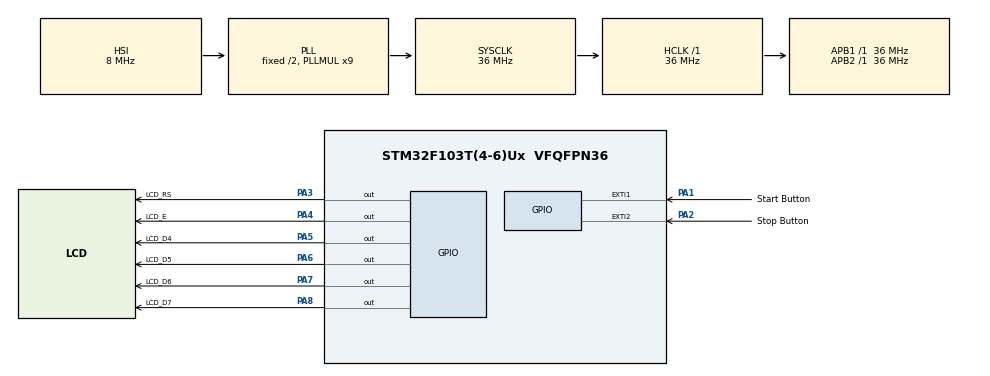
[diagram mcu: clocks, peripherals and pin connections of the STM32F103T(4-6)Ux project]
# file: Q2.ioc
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Mcu.Family=STM32F1
Mcu.Name=STM32F103T(4-6)Ux
Mcu.Package=VFQFPN36
NVIC.EXTI1_IRQn=true\:0\:0\:false\:false\:true\:true\:true\:true
NVIC.EXTI2_IRQn=true\:0\:0\:false\:false\:true\:true\:true\:true
NVIC.PriorityGroup=NVIC_PRIORITYGROUP_4
NVIC.TIM1_UP_IRQn=true\:0\:0\:false\:false\:true\:true\:true\:true
NVIC.TIM2_IRQn=true\:0\:0\:false\:false\:true\:true\:true\:true
PA1.GPIO_Label=Start Button
PA1.GPIO_ModeDefaultEXTI=GPIO_MODE_IT_RISING
PA1.GPIO_PuPd=GPIO_PULLDOWN
PA1.Signal=GPXTI1
PA2.GPIO_Label=Stop Button
PA2.GPIO_ModeDefaultEXTI=GPIO_MODE_IT_RISING
PA2.GPIO_PuPd=GPIO_PULLDOWN
PA2.Signal=GPXTI2
PA3.GPIO_Label=LCD_RS
PA3.Signal=GPIO_Output
PA4.GPIO_Label=LCD_E
PA4.Signal=GPIO_Output
PA5.GPIO_Label=LCD_D4
PA5.Signal=GPIO_Output
PA6.GPIO_Label=LCD_D5
PA6.Signal=GPIO_Output
PA7.GPIO_Label=LCD_D6
PA7.Signal=GPIO_Output
PA8.GPIO_Label=LCD_D7
PA8.Signal=GPIO_Output
ProjectManager.HeapSize=0x200
ProjectManager.StackSize=0x400
ProjectManager.TargetToolchain=STM32CubeIDE
RCC.AHBFreq_Value=36000000
RCC.APB1Freq_Value=36000000
RCC.APB1TimFreq_Value=36000000
RCC.APB2Freq_Value=36000000
RCC.APB2TimFreq_Value=36000000
RCC.HCLKFreq_Value=36000000
RCC.PLLMUL=RCC_PLL_MUL9
RCC.SYSCLKFreq_VALUE=36000000
RCC.SYSCLKSource=RCC_SYSCLKSOURCE_PLLCLK
RCC.USBFreq_Value=36000000
TIM1.Period=999
TIM1.Prescaler=35999
TIM2.Period=999
TIM2.Prescaler=35999
VP_SYS_VS_ND.Mode=No_Debug
VP_TIM1_VS_ClockSourceINT.Mode=Internal
VP_TIM2_VS_ClockSourceINT.Mode=Internal
board=custom

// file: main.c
/* USER CODE BEGIN Header */
/**
  ******************************************************************************
  * @file           : main.c
  * @brief          : Main program body
  ******************************************************************************
  * @attention
  *
  * Copyright (c) 2025 STMicroelectronics.
  * All rights reserved.
  *
  * This software is licensed under terms that can be found in the LICENSE file
  * in the root directory of this software component.
  * If no LICENSE file comes with this software, it is provided AS-IS.
  *
  ******************************************************************************
  */
/* USER CODE END Header */
#include "main.h"
#include "gpio.h"
#include "tim.h"
#include <stdio.h>
#include <string.h>

/* USER CODE BEGIN PD */
#define RS_Pin GPIO_PIN_3
#define EN_Pin GPIO_PIN_4
#define D4_Pin GPIO_PIN_5
#define D5_Pin GPIO_PIN_6
#define D6_Pin GPIO_PIN_7
#define D7_Pin GPIO_PIN_8
#define LCD_Port GPIOA

/* USER CODE END PD */

/* USER CODE BEGIN PV */
volatile uint8_t minutes = 0;
volatile uint8_t seconds = 0;
volatile uint8_t timer_running = 0;

/* USER CODE END PV */

void SystemClock_Config(void);

/* USER CODE BEGIN 0 */
void LCD_Delay(uint32_t time) {
    for (uint32_t i = 0; i < time * 10; i++) __NOP();
}

void LCD_EnablePulse(void) {
    HAL_GPIO_WritePin(LCD_Port, EN_Pin, GPIO_PIN_SET);
    LCD_Delay(2);
    HAL_GPIO_WritePin(LCD_Port, EN_Pin, GPIO_PIN_RESET);
    LCD_Delay(2);
}

void LCD_Send4Bits(uint8_t data) {
    HAL_GPIO_WritePin(LCD_Port, D4_Pin, (data >> 0) & 1);
    HAL_GPIO_WritePin(LCD_Port, D5_Pin, (data >> 1) & 1);
    HAL_GPIO_WritePin(LCD_Port, D6_Pin, (data >> 2) & 1);
    HAL_GPIO_WritePin(LCD_Port, D7_Pin, (data >> 3) & 1);
    LCD_EnablePulse();
}

void LCD_SendCommand(uint8_t cmd) {
    HAL_GPIO_WritePin(LCD_Port, RS_Pin, GPIO_PIN_RESET);
    LCD_Send4Bits(cmd >> 4);
    LCD_Send4Bits(cmd & 0x0F);
    LCD_Delay(5);
}

void LCD_SendData(uint8_t data) {
    HAL_GPIO_WritePin(LCD_Port, RS_Pin, GPIO_PIN_SET);
    LCD_Send4Bits(data >> 4);
    LCD_Send4Bits(data & 0x0F);
    LCD_Delay(5);
}

void LCD_SendString(char* str) {
    while (*str) {
        LCD_SendData(*str++);
    }
}

void LCD_SetCursor(uint8_t row, uint8_t col) {
    uint8_t pos = (row == 0) ? (0x80 + col) : (0xC0 + col);
    LCD_SendCommand(pos);
}

void LCD_Init(void) {
    LCD_Delay(500);
    LCD_Send4Bits(0x03); LCD_Delay(50);
    LCD_Send4Bits(0x03); LCD_Delay(50);
    LCD_Send4Bits(0x03); LCD_Delay(50);
    LCD_Send4Bits(0x02); LCD_Delay(50);

    LCD_SendCommand(0x28);  // 4-bit, 2 line, 5x8 dots
    LCD_SendCommand(0x0C);  // Display on, Cursor off
    LCD_SendCommand(0x06);  // Entry mode
    LCD_SendCommand(0x01);  // Clear display
}

void LCD_PrintTime(uint8_t m, uint8_t s) {
    char buffer[9];
    sprintf(buffer, "%02d:%02d", m, s);
    LCD_SetCursor(0, 0);
    LCD_SendString(buffer);
}

/* USER CODE END 0 */

int main(void)
{

  /* MCU Configuration--------------------------------------------------------*/

  /* Reset of all peripherals, Initializes the Flash interface and the Systick. */
  HAL_Init();

  /* Configure the system clock */
  SystemClock_Config();

  /* Initialize all configured peripherals */
  MX_GPIO_Init();
  MX_TIM2_Init();
  MX_TIM1_Init();
  /* USER CODE BEGIN 2 */
  LCD_Init();
  LCD_PrintTime(0, 0);
  LCD_SetCursor(1, 0);
  LCD_SendString("810101453");
  HAL_TIM_Base_Start_IT(&htim2);

  /* USER CODE END 2 */

  /* Infinite loop */
  while (1)
  {

  }
}

void SystemClock_Config(void)
{
  RCC_OscInitTypeDef RCC_OscInitStruct = {0};
  RCC_ClkInitTypeDef RCC_ClkInitStruct = {0};

  /** Initializes the RCC Oscillators according to the specified parameters
  * in the RCC_OscInitTypeDef structure.
  */
  RCC_OscInitStruct.OscillatorType = RCC_OSCILLATORTYPE_HSI;
  RCC_OscInitStruct.HSIState = RCC_HSI_ON;
  RCC_OscInitStruct.HSICalibrationValue = RCC_HSICALIBRATION_DEFAULT;
  RCC_OscInitStruct.PLL.PLLState = RCC_PLL_ON;
  RCC_OscInitStruct.PLL.PLLSource = RCC_PLLSOURCE_HSI_DIV2;
  RCC_OscInitStruct.PLL.PLLMUL = RCC_PLL_MUL9;
  if (HAL_RCC_OscConfig(&RCC_OscInitStruct) != HAL_OK)
  {
    Error_Handler();
  }

  /** Initializes the CPU, AHB and APB buses clocks
  */
  RCC_ClkInitStruct.ClockType = RCC_CLOCKTYPE_HCLK|RCC_CLOCKTYPE_SYSCLK
                              |RCC_CLOCKTYPE_PCLK1|RCC_CLOCKTYPE_PCLK2;
  RCC_ClkInitStruct.SYSCLKSource = RCC_SYSCLKSOURCE_PLLCLK;
  RCC_ClkInitStruct.AHBCLKDivider = RCC_SYSCLK_DIV1;
  RCC_ClkInitStruct.APB1CLKDivider = RCC_HCLK_DIV1;
  RCC_ClkInitStruct.APB2CLKDivider = RCC_HCLK_DIV1;

  if (HAL_RCC_ClockConfig(&RCC_ClkInitStruct, FLASH_LATENCY_1) != HAL_OK)
  {
    Error_Handler();
  }
}

/* USER CODE BEGIN 4 */
void HAL_TIM_PeriodElapsedCallback(TIM_HandleTypeDef *htim) {
    if (htim->Instance == TIM2 && timer_running) {
        seconds++;
        if (seconds >= 60) {
            seconds = 0;
            minutes++;
        }
        LCD_PrintTime(minutes, seconds);
    }
}

void HAL_GPIO_EXTI_Callback(uint16_t GPIO_Pin) {
    if (GPIO_Pin == GPIO_PIN_1) { // Start Button
        timer_running = 1;
    }
    else if (GPIO_Pin == GPIO_PIN_2) { // Stop Button
        timer_running = 0;
    }
}

/* USER CODE END 4 */

void Error_Handler(void)
{
  __disable_irq();
  while (1)
  {
  }
}
